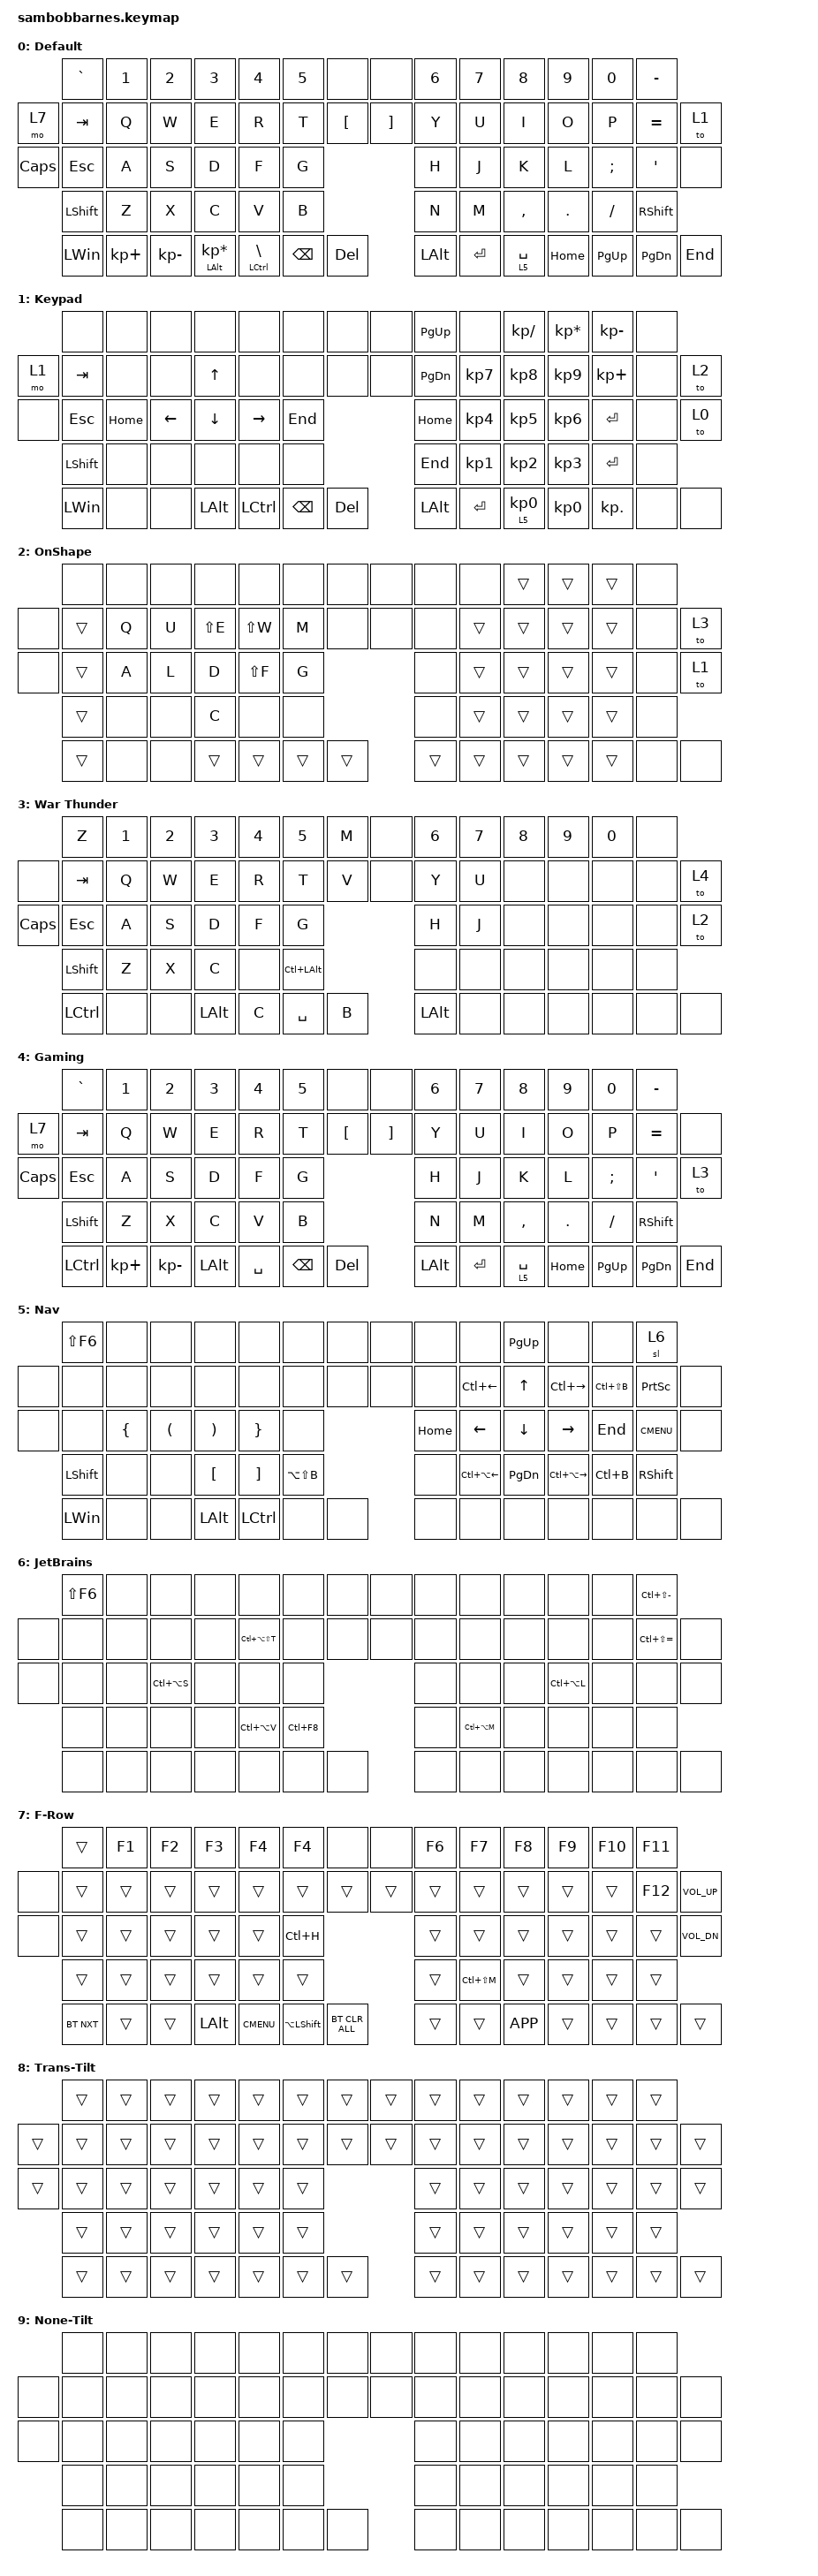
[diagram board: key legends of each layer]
#include <behaviors.dtsi>
#include <dt-bindings/zmk/keys.h>
#include <dt-bindings/zmk/bt.h>

&sl {
    release-after-ms = <2000>;
};

/ {
    keymap {
        compatible = "zmk,keymap";
        // @formatter:off
        default_layer_0 {
            //              -----------------------------------------------------------------------------------    -----------------------------------------------------------------------------------
            //  -----------|     ~     |     1     |     2     |     3     |     4     |     5     |           ||||           |     6     |     7     |     8     |     9     |     0     |     -     |-----------
            // |    LU     |    tab    |     q     |     w     |     e     |     r     |     t     |_____[_____||||_____]_____|     y     |     u     |     i     |     o     |     p     |     =     |    LU     |
            // |____CAPS___|    esc    |     a     |     s     |     d     |     f     |     g     |           ||||           |     h     |     j     |     k     |     l     |     ;     |     '     |____LD_____|
            //             |   shift   |     z     |     x     |     c     |     v     |     b     |-----------||||-----------|     n     |     m     |     ,     |     .     |     /     |   shift   |
            //             |____win____|_____+_____|_____-_____|___*/alt___|___\/ctl___|____bsp____|____del____||||____alt____|____ent____|____spc____|____HOME___|_____PU____|_____PD____|____END____|
            bindings = <
                             &kp GRAVE     &kp N1      &kp N2     &kp N3      &kp N4      &kp N5      &none          &none        &kp N6      &kp N7     &kp N8       &kp N9      &kp N0    &kp MINUS
                   &mo 7     &kp TAB       &kp Q       &kp W      &kp E       &kp R       &kp T      &kp LBKT        &kp RBKT     &kp Y       &kp U      &kp I        &kp O       &kp P     &kp EQUAL     &to 1
                 &kp CAPS    &kp ESC       &kp A       &kp S      &kp D       &kp F       &kp G                                   &kp H       &kp J      &kp K        &kp L      &kp SEMI   &kp APOS      &none
                             &kp LSHFT     &kp Z       &kp X      &kp C       &kp V       &kp B                                   &kp N       &kp M     &kp COMMA    &kp DOT     &kp FSLH   &kp RSHFT
                            &kp LWIN &kp KP_PLUS &kp KP_MINUS &mt LALT KP_ASTERISK &mt LCTRL BSLH &kp BSPC &kp DEL   &kp LALT    &kp RET   &lt 5 SPACE   &kp HOME    &kp PG_UP   &kp PG_DN   &kp END
            >;
            display-name = "Default";
        };

        keypad_1 {
            //              -----------------------------------------------------------------------------------    -----------------------------------------------------------------------------------
            //  -----------|           |           |           |           |           |           |           ||||           |    PGU    |           |     /     |     *     |     -     |           |-----------
            // |   FROW    |    tab    |           |           |     ^     |           |           |___________||||___________|    PGD    |     7     |     8     |     9     |     +     |           |    LU     |
            // |____LD_____|    esc    |   HOME    |     <     |     v     |     >     |    END    |           ||||           |    HOME   |     4     |     5     |     6     |    ENT    |           |____LD_____|
            //             |   shift   |           |           |           |           |           |-----------||||-----------|    END    |     1     |     2     |     3     |    ENT    |           |
            //             |____win____|___________|___________|____alt____|____ctl____|____bsp____|____del____||||____alt____|____ent____|___ 0/SL___|_____0_____|_____._____|___________|___________|
            bindings = <
                               &none       &none       &none      &none       &none       &none       &none          &none      &kp PG_UP     &none  &kp KP_SLASH &kp KP_ASTERISK &kp KP_MINUS &none
                   &mo 1     &kp TAB       &none       &none      &kp UP      &none       &none       &none          &none      &kp PG_DN   &kp KP_N7   &kp KP_N8    &kp KP_N9  &kp KP_PLUS   &none       &to 2
                   &none     &kp ESC     &kp HOME     &kp LEFT   &kp DOWN    &kp RIGHT   &kp END                                 &kp HOME    &kp KP_N4   &kp KP_N5    &kp KP_N6    &kp RET     &none       &to 0
                             &kp LSHFT     &none       &none      &none       &none       &none                                  &kp END    &kp KP_N1   &kp KP_N2    &kp KP_N3    &kp RET     &none
                             &kp LWIN      &none       &none     &kp LALT   &kp LCTRL     &kp BSPC    &kp DEL        &kp LALT    &kp RET   &lt 5 KP_N0  &kp KP_N0    &kp KP_DOT    &none      &none
            >;
            display-name = "Keypad";
        };

        onshape_layer_2 {
            //              -----------------------------------------------------------------------------------    -----------------------------------------------------------------------------------
            //  -----------|           |           |           |           |           |           |           ||||           |           |           |     /     |     *     |     -     |           |-----------
            // |    LU     |    tab    |   Constr  |  Project  |  Extrude  |  Revolve  |   Trim    |___________||||___________|           |     7     |     8     |     9     |     +     |           |    LU     |
            // |____LD_____|    esc    |    Arc    |   Line    | Dimension |  Fillet   |   Rect    |           ||||           |           |     4     |     5     |     6     |    ENT    |           |____LD_____|
            //             |   shift   |           |           |  Circle   |           |           |-----------||||-----------|           |     1     |     2     |     3     |    ENT    |           |
            //             |____win____|___________|___________|____alt____|____ctl____|____bsp____|____del____||||____alt____|____ent____|___ 0/SL___|_____0_____|_____._____|___________|___________|
            bindings = <
                               &none       &none       &none      &none       &none       &none       &none          &none        &none       &none       &trans      &trans      &trans      &none
                  &none        &trans      &kp Q       &kp U     &kp LS(E)   &kp LS(W)    &kp M       &none          &none        &none       &trans      &trans      &trans      &trans      &none       &to 3
                  &none        &trans      &kp A       &kp L      &kp D      &kp LS(F)    &kp G                                   &none       &trans      &trans      &trans      &trans      &none       &to 1
                               &trans      &none       &none      &kp C       &none       &none                                   &none       &trans      &trans      &trans      &trans      &none
                               &trans      &none       &none      &trans      &trans      &trans      &trans         &trans       &trans      &trans      &trans      &trans      &none       &none
            >;
            display-name = "OnShape";
        };

        warthunder_layer_3 {
            //              -----------------------------------------------------------------------------------    -----------------------------------------------------------------------------------
            //  -----------|           |           |           |           |           |           |           ||||           |           |           |           |           |           |           |-----------
            // |    LU     |           |           |           |           |           |           |___________||||___________|           |           |           |           |           |           |    LU     |
            // |____LD_____|           |           |           |           |           |           |           ||||           |           |           |           |           |           |           |____LD_____|
            //             |           |           |           |           |           |           |-----------||||-----------|           |           |           |           |           |           |
            //             |___________|___________|___________|___________|___________|___________|___________||||___________|___________|___________|___________|___________|___________|___________|
            bindings = <
                               &kp Z       &kp N1      &kp N2     &kp N3      &kp N4      &kp N5      &kp M          &none        &kp N6      &kp N7     &kp N8       &kp N9      &kp N0      &none
                  &none       &kp TAB      &kp Q       &kp W      &kp E       &kp R       &kp T       &kp V          &none        &kp Y       &kp U       &none       &none       &none       &none       &to 4
                 &kp CAPS     &kp ESC      &kp A       &kp S      &kp D       &kp F       &kp G                                   &kp H       &kp J       &none       &none       &none       &none       &to 2
                             &kp LSHFT     &kp Z       &kp X      &kp C       &none    &kp LC(LALT)                               &none       &none       &none       &none       &none       &none
                             &kp LCTRL     &none       &none     &kp LALT     &kp C     &kp SPACE     &kp B        &kp LALT       &none       &none       &none       &none       &none       &none
            >;
            display-name = "War Thunder";
        };

        gaming_layer_4 {
            //              -----------------------------------------------------------------------------------    -----------------------------------------------------------------------------------
            //  -----------|     ~     |     1     |     2     |     3     |     4     |     5     |           ||||           |     6     |     7     |     8     |     9     |     0     |     -     |-----------
            // |    LU     |    tab    |     q     |     w     |     e     |     r     |     t     |_____[_____||||_____]_____|     y     |     u     |     i     |     o     |     p     |     =     |    LU     |
            // |____CAPS___|    esc    |     a     |     s     |     d     |     f     |     g     |           ||||           |     h     |     j     |     k     |     l     |     ;     |     '     |____LD_____|
            //             |   shift   |     z     |     x     |     c     |     v     |     b     |-----------||||-----------|     n     |     m     |     ,     |     .     |     /     |   shift   |
            //             |____win____|_____+_____|_____-_____|___*/alt___|___\/ctl___|____bsp____|____del____||||____alt____|____ent____|____spc____|____HOME___|_____PU____|_____PD____|____END____|
            bindings = <
                             &kp GRAVE     &kp N1      &kp N2     &kp N3      &kp N4      &kp N5      &none          &none        &kp N6      &kp N7     &kp N8       &kp N9      &kp N0    &kp MINUS
                   &mo 7      &kp TAB      &kp Q       &kp W      &kp E       &kp R       &kp T      &kp LBKT        &kp RBKT     &kp Y       &kp U      &kp I        &kp O       &kp P     &kp EQUAL     &none
                 &kp CAPS    &kp ESC       &kp A       &kp S      &kp D       &kp F       &kp G                                   &kp H       &kp J      &kp K        &kp L      &kp SEMI   &kp APOS      &to 3
                             &kp LSHFT     &kp Z       &kp X      &kp C       &kp V       &kp B                                   &kp N       &kp M     &kp COMMA    &kp DOT     &kp FSLH   &kp RSHFT
                            &kp LCTRL &kp KP_PLUS &kp KP_MINUS   &kp LALT  &kp SPACE     &kp BSPC     &kp DEL        &kp LALT    &kp RET   &lt 5 SPACE   &kp HOME    &kp PG_UP   &kp PG_DN   &kp END
            >;
            display-name = "Gaming";
        };

        space_layer_5 {
            //              -----------------------------------------------------------------------------------    -----------------------------------------------------------------------------------
            //  -----------|  JB_RENM  |           |           |           |           |           |           ||||           |           |           |   PG UP   |           |           |   JB_L    |-----------
            // |    LU     |           |           |           |           |           |           |___________||||___________|           |    JB<    |     ^     |    JB>    | Goto DECL |   PSCR    |    LU     |
            // |____LD_____|           |     {     |     (     |     )     |     }     |           |           ||||           |   HOME    |     <     |     v     |     >     |    END    |   CMENU   |____LD_____|
            //             |   shift   |           |           |     [     |     ]     |           |-----------||||-----------|           |    BACK   |   PG DN   |  FORWARD  | Goto  IMP |   shift   |
            //             |____win____|___________|___________|____alt____|____ctl____|___________|___________||||___________|___________|___________|___________|___________|___________|___________|
            bindings = <
                             &kp LS(F6)    &none       &none      &none       &none       &none       &none          &none        &none       &none     &kp PG_UP     &none       &none       &sl 6
                  &none        &none       &none       &none      &none       &none       &none       &none          &none        &none    &kp LC(LEFT)   &kp UP  &kp LC(RIGHT) &kp LC(LS(B)) &kp PSCRN   &none
                  &none        &none     &kp LBRC     &kp LPAR   &kp RPAR    &kp RBRC     &none                                &kp HOME     &kp LEFT    &kp DOWN    &kp RIGHT   &kp END    &kp K_CMENU    &none
                             &kp LSHFT     &none       &none     &kp LBKT    &kp RBKT  &kp LA(LS(B))                              &none &kp LC(LA(LEFT)) &kp PG_DN &kp LC(LA(RIGHT)) &kp LC(B) &kp RSHFT
                             &kp LWIN      &none       &none     &kp LALT   &kp LCTRL     &none       &none          &none        &none       &none       &none       &none       &none       &none
            >;
            display-name = "Nav";
        };

        jet_brains_layer_6 {
            //              -----------------------------------------------------------------------------------    -----------------------------------------------------------------------------------
            //  -----------|  RENAME   |           |           |           |           |           |           ||||           |           |           |           |           |           | COLLAPSE  |-----------
            // |    LU     |           |           |           |           | REFACTOR  |           |___________||||___________|           |           |           |           |           |  EXPAND   |    LU     |
            // |____LD_____|           |           | SETTINGS  |           |           |           |           ||||           |           |           |           |  FORMAT   |           |           |____LD_____|
            //             |           |           |           |           |           |           |-----------||||-----------|           |  EXTRACT  |           |           |           |           |
            //             |___________|___________|___________|___________|___________|___________|___________||||___________|___________|___________|___________|___________|___________|___________|
            bindings = <
                             &kp LS(F6)    &none       &none      &none       &none       &none       &none          &none        &none       &none       &none       &none       &none  &kp LC(LS(MINUS))
                  &none        &none       &none       &none      &none  &kp LC(LA(LS(T))) &none      &none          &none        &none       &none       &none       &none       &none  &kp LC(LS(EQUAL)) &none
                  &none        &none       &none   &kp LC(LA(S))  &none       &none       &none                                   &none       &none       &none   &kp LC(LA(L))   &none       &none        &none
                               &none       &none       &none      &none    &kp LC(LA(V))  &kp LC(F8)                              &none   &kp LC(LA(M))   &none       &none       &none       &none
                               &none       &none       &none      &none       &none       &none       &none          &none        &none       &none       &none       &none       &none       &none
            >;
            display-name = "JetBrains";
        };

        function_7 {
            //              -----------------------------------------------------------------------------------    -----------------------------------------------------------------------------------
            //  -----------|           |    F1     |    F2     |    F3     |    F4     |    F5     |           ||||           |    F6     |    F7     |    F8     |    F9     |    F10    |    F11    |-----------
            // |    LU     |           |           |           |           |           |           |___________||||___________|           |           |           |           |           |    F12    |    LU     |
            // |____LD_____|           |           |           |           |           |           |           ||||           |           |           |           |           |           |           |____LD_____|
            //             |           |           |           |           |           |           |-----------||||-----------|           |           |           |           |           |           |
            //             |_BT-CYCLE__|___________|___________|___________|___________|___________|___________||||___________|___________|___________|___________|___________|___________|___________|
            bindings = <
                               &trans      &kp F1      &kp F2     &kp F3      &kp F4      &kp F4      &none          &none        &kp F6      &kp F7      &kp F8      &kp F9      &kp F10     &kp F11
                   &none       &trans      &trans      &trans     &trans      &trans      &trans      &trans         &trans       &trans      &trans      &trans      &trans      &trans      &kp F12     &kp K_VOL_UP
                   &none       &trans      &trans      &trans     &trans      &trans     &kp LC(H)                                &trans      &trans      &trans      &trans      &trans      &trans      &kp K_VOL_DN
                               &trans      &trans      &trans     &trans      &trans      &trans                                  &trans   &kp LC(LS(M))  &trans      &trans      &trans      &trans
                             &bt BT_NXT    &trans      &trans    &kp LALT  &kp K_CMENU &kp LA(LSHFT) &bt BT_CLR_ALL   &trans      &trans     &kp K_APP    &trans      &trans      &trans      &trans
            >;
            display-name = "F-Row";
        };

        trans_template {
            //              -----------------------------------------------------------------------------------    -----------------------------------------------------------------------------------
            //  -----------|           |           |           |           |           |           |           ||||           |           |           |           |           |           |           |-----------
            // |    LU     |           |           |           |           |           |           |___________||||___________|           |           |           |           |           |           |    LU     |
            // |____LD_____|           |           |           |           |           |           |           ||||           |           |           |           |           |           |           |____LD_____|
            //             |           |           |           |           |           |           |-----------||||-----------|           |           |           |           |           |           |
            //             |___________|___________|___________|___________|___________|___________|___________||||___________|___________|___________|___________|___________|___________|___________|
            bindings = <
                               &trans      &trans      &trans     &trans      &trans      &trans      &trans         &trans       &trans      &trans      &trans      &trans      &trans      &trans
                  &trans       &trans      &trans      &trans     &trans      &trans      &trans      &trans         &trans       &trans      &trans      &trans      &trans      &trans      &trans      &trans
                  &trans       &trans      &trans      &trans     &trans      &trans      &trans                                  &trans      &trans      &trans      &trans      &trans      &trans      &trans
                               &trans      &trans      &trans     &trans      &trans      &trans                                  &trans      &trans      &trans      &trans      &trans      &trans
                               &trans      &trans      &trans     &trans      &trans      &trans      &trans         &trans       &trans      &trans      &trans      &trans      &trans      &trans
            >;
            display-name = "Trans-Tilt";
        };

        none_template {
            //              -----------------------------------------------------------------------------------    -----------------------------------------------------------------------------------
            //  -----------|           |           |           |           |           |           |           ||||           |           |           |           |           |           |           |-----------
            // |    LU     |           |           |           |           |           |           |___________||||___________|           |           |           |           |           |           |    LU     |
            // |____LD_____|           |           |           |           |           |           |           ||||           |           |           |           |           |           |           |____LD_____|
            //             |           |           |           |           |           |           |-----------||||-----------|           |           |           |           |           |           |
            //             |___________|___________|___________|___________|___________|___________|___________||||___________|___________|___________|___________|___________|___________|___________|
            bindings = <
                               &none       &none       &none      &none       &none       &none       &none          &none        &none       &none       &none       &none       &none       &none
                  &none        &none       &none       &none      &none       &none       &none       &none          &none        &none       &none       &none       &none       &none       &none       &none
                  &none        &none       &none       &none      &none       &none       &none                                   &none       &none       &none       &none       &none       &none       &none
                               &none       &none       &none      &none       &none       &none                                   &none       &none       &none       &none       &none       &none
                               &none       &none       &none      &none       &none       &none       &none          &none        &none       &none       &none       &none       &none       &none
            >;
            display-name = "None-Tilt";
        };
        // @formatter:off
    };
 };
